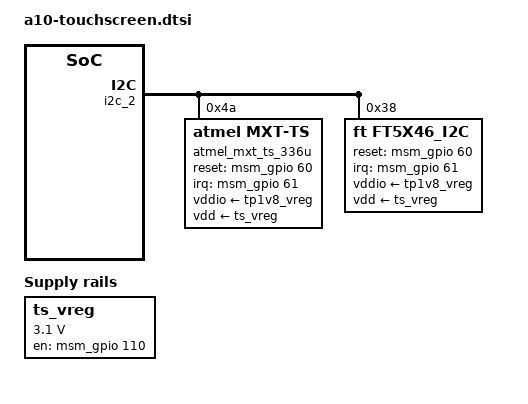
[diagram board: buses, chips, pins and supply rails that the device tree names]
/* Copyright (c) 2017, The Linux Foundation. All rights reserved.
 *
 * This program is free software; you can redistribute it and/or modify
 * it under the terms of the GNU General Public License version 2 and
 * only version 2 as published by the Free Software Foundation.
 *
 * This program is distributed in the hope that it will be useful,
 * but WITHOUT ANY WARRANTY; without even the implied warranty of
 * MERCHANTABILITY or FITNESS FOR A PARTICULAR PURPOSE.  See the
 * GNU General Public License for more details.
 */

&tlmm_pinmux {
	pmx_ts {
		qcom,pins = <&gp 60>, <&gp 61>, <&gp 96>, <&gp 110>;
	};
};

&soc {
	ts_vreg: ts_vreg {
		compatible = "regulator-fixed";
		regulator-name = "ts_vreg";
		regulator-min-microvolt = <3100000>;
		regulator-max-microvolt = <3100000>;
		gpio = <&msm_gpio 110 0>;
		startup-delay-us = <10000>;
		enable-active-high;
	};

	gen-vkeys {
		compatible = "qcom,gen-vkeys";
		label = "ft5x46";
		qcom,disp-maxx = <1080>;
		qcom,disp-maxy = <1920>;
		qcom,panel-maxx = <1080>;
		qcom,panel-maxy = <2080>;
		qcom,key-codes = <139 102 158>;
	};
};

&i2c_2 {
	atmel_mxt_ts_336u@4a {
		compatible = "atmel,mxt-ts";
		reg = <0x4a>;
		interrupt-parent = <&msm_gpio>;
		interrupts = <61 0x2008>;
		vddio-supply = <&tp1v8_vreg>;
		vdd-supply = <&ts_vreg>;
		/* pins used by touchscreen */
		pinctrl-names = "pmx_ts_active","pmx_ts_suspend";
		pinctrl-0 = <&ts_active>;
		pinctrl-1 = <&ts_suspend>;
		atmel,reset-gpio = <&msm_gpio 60 0x00>;
		atmel,irq-gpio = <&msm_gpio 61 0x2008>;
		atmel,mxt-fw-name = "mXT336U10AA.fw";
		atmel,config-array-size = <1>;
		atmel,default-config = <0>;
		atmel,default-panel-id = <0x34>;
		atmel,irqflags = <0x2008>;
		atmel,gpio-mask = <0xC>;
		atmel,cfg_1 {
			atmel,family-id = <0xA6>;
			atmel,variant-id = <0x06>;
			atmel,version = <0x10>;
			atmel,build = <0xAA>;
			atmel,rev-id = <0x2>;
			atmel,mxt-cfg-name = "mxt_336u_ofilm_config.fw";
			atmel,vendor-id = <0x0C>;
			atmel,panel-id = <0x34>; /* Ofilm = 0x34 */
			atmel,key-codes = <158 102 139>;
			atmel,selfintthr-stylus = <0>;
			atmel,t71-tchthr-pos = <22>;
			atmel,self-chgtime-min = <0>;
			atmel,self-chgtime-max = <0>;
			atmel,mult-intthr-sensitive = <12>;
			atmel,mult-intthr-not-sensitive = <17>;
			atmel,atchthr-sensitive = <6>;
			atmel,mult-tchthr-sensitive = <0>;
			atmel,mult-tchthr-not-sensitive = <0>;
			atmel,wake-up-self-adcx = <16>;
			atmel,support-wakeup-gesture;
		};
	};

	ft5x46_i2c@38 {
		compatible = "ft,ft5x46_i2c";
		reg = <0x38>;
		interrupt-parent = <&msm_gpio>;
		interrupts = <61 0x2008>;
		vddio-supply = <&tp1v8_vreg>;
		vdd-supply = <&ts_vreg>;
		/* pins used by touchscreen */
		pinctrl-names = "pmx_ts_active","pmx_ts_suspend";
		pinctrl-0 = <&ts_active>;
		pinctrl-1 = <&ts_suspend>;
		ft5x46_i2c,i2c-pull-up;
		ft5x46_i2c,irqflags = <0x2008>;
		ft5x46_i2c,x-max = <1080>;
		ft5x46_i2c,y-max = <1920>;
		ft5x46_i2c,z-max = <255>;
		ft5x46_i2c,w-max = <200>;
		ft5x46_i2c,reset-gpio = <&msm_gpio 60 0x00>;
		ft5x46_i2c,irq-gpio = <&msm_gpio 61 0x2008>;
		ft5x46_i2c,landing-jiffies = <1000>;
		ft5x46_i2c,landing-threshold = <16>;
		ft5x46_i2c,staying-threshold = <8>;
		ft5x46_i2c,raw-min = <7000>;
		ft5x46_i2c,raw-max = <10000>;
		ft5x46_i2c,fw-delay-55-ms = <2>;
		ft5x46_i2c,fw-delay-aa-ms = <2>;
		ft5x46_i2c,fw-upgrade-id1 = <0x54>;
		ft5x46_i2c,fw-upgrade-id2 = <0x2C>;
		ft5x46_i2c,fw-delay-readid-ms = <20>;
		ft5x46_i2c,firmware-array-size = <2>;
		ft5x46_i2c,cfg_0 {
			ft5x46_i2c,chip = <0x54>;
			ft5x46_i2c,vendor = <0x6d>;
			ft5x46_i2c,fw-name = "ft5346_lens.fw";
			ft5x46_i2c,tx-num = <24>;
			ft5x46_i2c,rx-num = <13>;
		};
		ft5x46_i2c,cfg_1 {
			ft5x46_i2c,chip = <0x54>;
			ft5x46_i2c,vendor = <0x3b>;
			ft5x46_i2c,fw-name = "ft5346_biel.fw";
			ft5x46_i2c,tx-num = <24>;
			ft5x46_i2c,rx-num = <13>;
		};
	};
};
